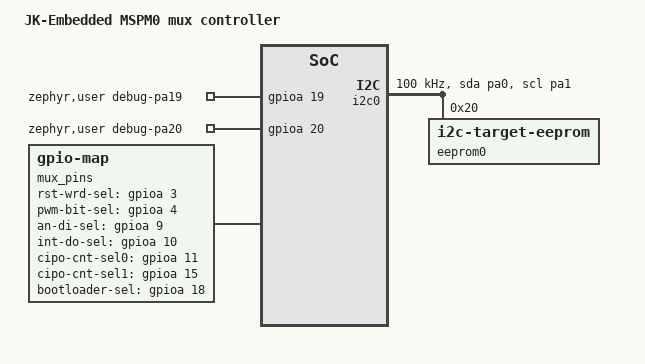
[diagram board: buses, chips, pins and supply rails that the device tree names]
/dts-v1/;

#include <mem.h>
#include <ti/mspm0/l/mspm0l1105.dtsi>
#include <dt-bindings/pinctrl/mspm0-pinctrl.h>
#include <zephyr/dt-bindings/i2c/i2c.h>
#include <zephyr/dt-bindings/gpio/gpio.h>

/ {
	model = "JK-Embedded MSPM0 mux controller";
	compatible = "jkembedded,mspm0-gpo-extender";

	aliases {
		gpio-0 = &gpioa;
	};

	chosen {
		zephyr,console = &uart0;
	};

	zephyr,user {
		debug-pa19-gpios = <&gpioa 19 GPIO_ACTIVE_HIGH>;
		debug-pa20-gpios = <&gpioa 20 GPIO_ACTIVE_HIGH>;
	};

	mux_pins: mux-pins {
		compatible = "zephyr,gpio-map";
		rst-wrd-sel-gpios = <&gpioa 3 GPIO_ACTIVE_HIGH>;
		pwm-bit-sel-gpios = <&gpioa 4 GPIO_ACTIVE_HIGH>;
		an-di-sel-gpios = <&gpioa 9 GPIO_ACTIVE_HIGH>;
		int-do-sel-gpios = <&gpioa 10 GPIO_ACTIVE_HIGH>;
		cipo-cnt-sel0-gpios = <&gpioa 11 GPIO_ACTIVE_HIGH>;
		cipo-cnt-sel1-gpios = <&gpioa 15 GPIO_ACTIVE_HIGH>;
		bootloader-sel-gpios = <&gpioa 18 GPIO_ACTIVE_HIGH>;
	};
};

&pinctrl {
		status = "okay";

		rst_wrd_sel_pa3: rst_wrd_sel_pa3 {
			pinmux = <MSP_PINMUX(4, MSPM0_PIN_FUNCTION_GPIO)>;
			bias-pull-down;
		};

		pwm_bit_sel_pa4: pwm_bit_sel_pa4 {
			pinmux = <MSP_PINMUX(5, MSPM0_PIN_FUNCTION_GPIO)>;
			bias-pull-down;
		};

		an_di_sel_pa9: an_di_sel_pa9 {
			pinmux = <MSP_PINMUX(10, MSPM0_PIN_FUNCTION_GPIO)>;
			bias-pull-down;
		};

		int_do_sel_pa10: int_do_sel_pa10 {
			pinmux = <MSP_PINMUX(11, MSPM0_PIN_FUNCTION_GPIO)>;
			bias-pull-down;
		};

		cipo_cnt_sel0_pa11: cipo_cnt_sel0_pa11 {
			pinmux = <MSP_PINMUX(12, MSPM0_PIN_FUNCTION_GPIO)>;
			bias-pull-down;
		};

		cipo_cnt_sel1_pa15: cipo_cnt_sel1_pa15 {
			pinmux = <MSP_PINMUX(16, MSPM0_PIN_FUNCTION_GPIO)>;
			bias-pull-down;
		};

		bootloader_sel_pa18: bootloader_sel_pa18 {
			pinmux = <MSP_PINMUX(19, MSPM0_PIN_FUNCTION_GPIO)>;
			bias-pull-down;
		};

		debug_pa19: debug_pa19 {
			pinmux = <MSP_PINMUX(20, MSPM0_PIN_FUNCTION_GPIO)>;
			bias-pull-down;
		};

		debug_pa20: debug_pa20 {
			pinmux = <MSP_PINMUX(21, MSPM0_PIN_FUNCTION_GPIO)>;
			bias-pull-down;
		};

		i2c0_sda_pa0: i2c0_sda_pa0 {
			pinmux = <MSP_PINMUX(1, MSPM0_PIN_FUNCTION_3)>;
			input-enable;
			bias-pull-up;
			drive-open-drain;
		};

		i2c0_scl_pa1: i2c0_scl_pa1 {
			pinmux = <MSP_PINMUX(2, MSPM0_PIN_FUNCTION_3)>;
			input-enable;
			bias-pull-up;
			drive-open-drain;
		};
};

&gpioa {
	status = "okay";
};

&flash0 {
	status = "okay";
	reg = <0x0 DT_SIZE_K(128)>;
};

&sram0 {
	reg = <0x20000000 DT_SIZE_K(16)>;
};

&i2c0 {
	status = "okay";
	clock-frequency = <I2C_BITRATE_STANDARD>;
	pinctrl-0 = <&i2c0_sda_pa0 &i2c0_scl_pa1>;
	pinctrl-names = "default";

	eeprom0: eeprom@20 {
		compatible = "zephyr,i2c-target-eeprom";
		reg = <0x20>;
		size = <16>;
		address-width = <8>;
		status = "okay";
	};
};
